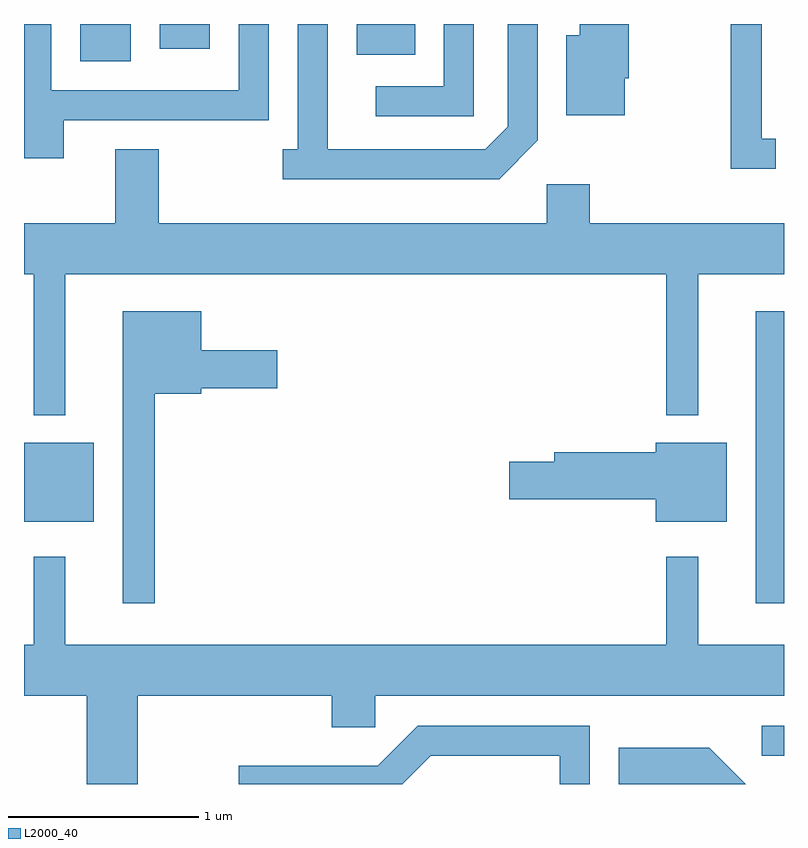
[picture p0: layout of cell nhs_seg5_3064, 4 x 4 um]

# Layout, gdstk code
import gdstk
lib = gdstk.Library(unit=1e-6, precision=1e-09)
def R(c, l, rs):  # rectangles x0, y0, x1, y1
    for r in rs: c.add(gdstk.rectangle(r[:2], r[2:], *l))
def P(c, l, *ps):  # polygons
    for p in ps: c.add(gdstk.Polygon(p, *l))
L2000_40 = (2000, 40)

nhs_seg5_3064 = lib.new_cell('nhs_seg5_3064')
R(nhs_seg5_3064, L2000_40, [(279.493,1494.221,279.611,1494.379), (279.461,1495.023,279.611,1496.559), (275.611,1495.451,275.979,1495.869), (275.906,1497.876,276.174,1498.072), (277.361,1497.911,277.669,1498.072), (276.326,1497.941,276.589,1498.072)])
P(nhs_seg5_3064, L2000_40, [(277.979,1498.072),(277.821,1498.072),(277.821,1497.744),(277.463,1497.744),(277.463,1497.586),(277.979,1497.586)],
  [(279.568,1497.469),(279.494,1497.469),(279.494,1498.072),(279.331,1498.072),(279.331,1497.311),(279.568,1497.311)],
  [(275.819,1497.566),(276.899,1497.566),(276.899,1498.072),(276.741,1498.072),(276.741,1497.724),(275.754,1497.724),(275.754,1498.072),(275.611,1498.072),(275.611,1497.366),(275.819,1497.366)],
  [(278.774,1497.786),(278.794,1497.786),(278.794,1498.072),(278.536,1498.072),(278.536,1498.014),(278.466,1498.014),(278.466,1497.591),(278.774,1497.591)],
  [(278.314,1497.459),(278.314,1498.072),(278.156,1498.072),(278.156,1497.532),(278.039,1497.414),(277.209,1497.414),(277.209,1498.072),(277.051,1498.072),(277.051,1497.414),(276.973,1497.414),(276.973,1497.256),(278.112,1497.256)],
  [(278.361,1497.229),(278.361,1497.024),(276.319,1497.024),(276.319,1497.414),(276.091,1497.414),(276.091,1497.024),(275.611,1497.024),(275.611,1496.756),(275.661,1496.756),(275.661,1496.013),(275.829,1496.013),(275.829,1496.756),(278.991,1496.756),(278.991,1496.013),(279.159,1496.013),(279.159,1496.756),(279.611,1496.756),(279.611,1497.024),(278.589,1497.024),(278.589,1497.229)],
  [(276.299,1496.126),(276.544,1496.126),(276.544,1496.156),(276.944,1496.156),(276.944,1496.354),(276.544,1496.354),(276.544,1496.559),(276.131,1496.559),(276.131,1495.023),(276.299,1495.023)],
  [(279.309,1495.869),(278.936,1495.869),(278.936,1495.819),(278.401,1495.819),(278.401,1495.769),(278.166,1495.769),(278.166,1495.571),(278.936,1495.571),(278.936,1495.451),(279.309,1495.451)],
  [(278.991,1495.268),(278.991,1494.804),(275.829,1494.804),(275.829,1495.268),(275.661,1495.268),(275.661,1494.804),(275.611,1494.804),(275.611,1494.536),(275.941,1494.536),(275.941,1494.072),(276.209,1494.072),(276.209,1494.536),(277.231,1494.536),(277.231,1494.371),(277.459,1494.371),(277.459,1494.536),(279.611,1494.536),(279.611,1494.804),(279.159,1494.804),(279.159,1495.268)],
  [(277.752,1494.221),(278.431,1494.221),(278.431,1494.072),(278.589,1494.072),(278.589,1494.379),(277.684,1494.379),(277.474,1494.169),(276.741,1494.169),(276.741,1494.072),(277.603,1494.072)],
  [(279.217,1494.264),(278.741,1494.264),(278.741,1494.072),(279.409,1494.072)])

lib.write_gds('nhs_seg5_3064.gds')
